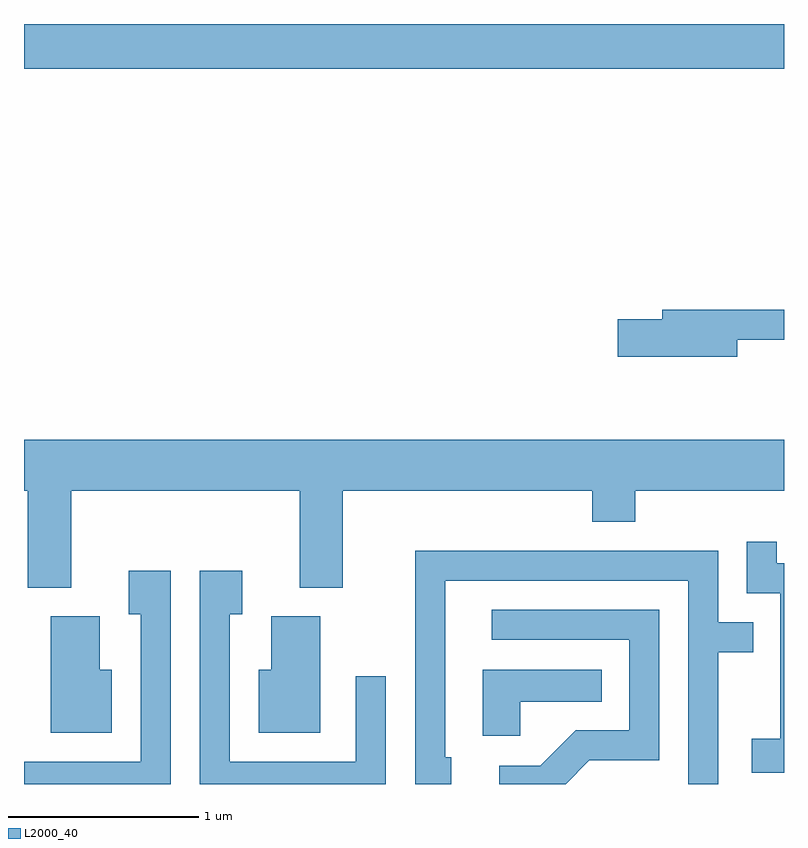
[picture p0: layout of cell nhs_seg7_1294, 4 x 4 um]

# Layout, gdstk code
import gdstk
lib = gdstk.Library(unit=1e-6, precision=1e-09)
def R(c, l, rs):  # rectangles x0, y0, x1, y1
    for r in rs: c.add(gdstk.rectangle(r[:2], r[2:], *l))
def P(c, l, *ps):  # polygons
    for p in ps: c.add(gdstk.Polygon(p, *l))
L2000_40 = (2000, 40)

nhs_seg7_1294 = lib.new_cell('nhs_seg7_1294')
R(nhs_seg7_1294, L2000_40, [(223.611,1792.016,227.611,1792.252)])
P(nhs_seg7_1294, L2000_40, [(227.364,1790.591),(227.611,1790.591),(227.611,1790.749),(226.971,1790.749),(226.971,1790.699),(226.736,1790.699),(226.736,1790.501),(227.364,1790.501)],
  [(223.611,1789.796),(223.631,1789.796),(223.631,1789.286),(223.859,1789.286),(223.859,1789.796),(225.061,1789.796),(225.061,1789.286),(225.289,1789.286),(225.289,1789.796),(226.601,1789.796),(226.601,1789.631),(226.829,1789.631),(226.829,1789.796),(227.611,1789.796),(227.611,1790.064),(223.611,1790.064)],
  [(227.611,1789.414),(227.574,1789.414),(227.574,1789.528),(227.416,1789.528),(227.416,1789.256),(227.591,1789.256),(227.591,1788.489),(227.441,1788.489),(227.441,1788.311),(227.611,1788.311)],
  [(225.859,1788.394),(225.829,1788.394),(225.829,1789.321),(227.106,1789.321),(227.106,1788.252),(227.264,1788.252),(227.264,1788.946),(227.448,1788.946),(227.448,1789.104),(227.264,1789.104),(227.264,1789.479),(225.671,1789.479),(225.671,1788.252),(225.859,1788.252)],
  [(225.514,1788.818),(225.356,1788.818),(225.356,1788.369),(224.694,1788.369),(224.694,1789.146),(224.759,1789.146),(224.759,1789.374),(224.536,1789.374),(224.536,1788.252),(225.514,1788.252)],
  [(224.384,1789.374),(224.161,1789.374),(224.161,1789.146),(224.226,1789.146),(224.226,1788.369),(223.611,1788.369),(223.611,1788.252),(224.384,1788.252)],
  [(226.587,1788.376),(226.954,1788.376),(226.954,1789.169),(226.073,1789.169),(226.073,1789.011),(226.796,1789.011),(226.796,1788.534),(226.514,1788.534),(226.329,1788.349),(226.113,1788.349),(226.113,1788.252),(226.463,1788.252)],
  [(224.074,1788.854),(224.009,1788.854),(224.009,1789.134),(223.751,1789.134),(223.751,1788.521),(224.074,1788.521)],
  [(225.169,1789.134),(224.911,1789.134),(224.911,1788.854),(224.846,1788.854),(224.846,1788.521),(225.169,1788.521)],
  [(226.224,1788.686),(226.653,1788.686),(226.653,1788.854),(226.026,1788.854),(226.026,1788.506),(226.224,1788.506)])

lib.write_gds('nhs_seg7_1294.gds')
